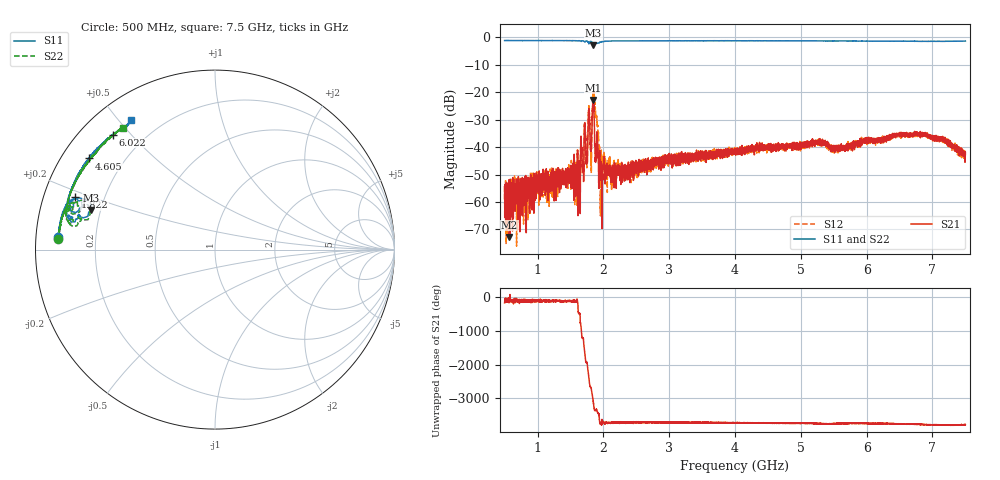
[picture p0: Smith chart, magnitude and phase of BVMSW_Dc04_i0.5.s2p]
!Keysight Technologies,M9374A,MY55442783,A.12.55.05
!Date: Thursday, May 20, 2021 17:51:31
!Correction: S11(Full 2 Port(1,2))
!S21(Full 2 Port(1,2))
!S12(Full 2 Port(1,2))
!S22(Full 2 Port(1,2))
!S2P File: Measurements: S11, S21, S12, S22:
# Hz S  RI  R 50
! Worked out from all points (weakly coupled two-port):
!   7001 points, 500 MHz to 7.5 GHz, reference 50 ohm
!   highest |S21| = -22.77 dB at 1.845 GHz (marker M1); lowest = -72.7 dB at 573 MHz (marker M2)
!   lowest |S11| = -2.8 dB at 1.846 GHz (marker M3), VSWR 6.23, Z = 8.22 + j7.59 ohm
!   |S11| at or under -10 dB: nowhere
!   |S22| runs from -2.9 to -1.1 dB; largest |S21 - S12| = 0.063
!   S11 on the Smith chart (normalised r, x): 500 MHz: 0.07, +0.04; 1.822 GHz: 0.10, +0.18; 4.605 GHz: 0.08, +0.32; 6.022 GHz: 0.09, +0.45; 7.5 GHz: 0.10, +0.54
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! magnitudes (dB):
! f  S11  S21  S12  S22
! 500 MHz  -1.1  -58.7  -54.3  -1.2
! 573 MHz  -1.1  -72.7  -53.8  -1.1
! 1.565 GHz  -1.2  -52.0  -55.9  -1.3
! 1.667 GHz  -1.4  -41.6  -40.3  -1.5
! 1.689 GHz  -1.3  -45.8  -46.6  -1.3
! 1.723 GHz  -1.6  -35.3  -34.2  -1.6
! 1.822 GHz  -1.6  -37.6  -40.8  -1.7
! 1.845 GHz  -2.8  -22.8  -20.3  -2.8
! 1.846 GHz  -2.8  -23.2  -20.7  -2.8
! 1.876 GHz  -2.2  -42.2  -25.0  -2.2
! 1.953 GHz  -1.7  -50.1  -49.2  -1.7
! 1.982 GHz  -1.5  -52.8  -49.2  -1.6
! 2.371 GHz  -1.3  -52.0  -50.5  -1.3
! 2.834 GHz  -1.3  -45.8  -45.0  -1.3
! 4 GHz  -1.2  -41.1  -41.6  -1.3
! 4.605 GHz  -1.2  -40.6  -40.5  -1.3
! 5.167 GHz  -1.3  -38.3  -38.5  -1.3
! 5.517 GHz  -1.3  -39.9  -41.0  -1.4
! 6.022 GHz  -1.3  -37.2  -38.1  -1.3
! 6.334 GHz  -1.4  -36.7  -36.0  -1.3
! 6.894 GHz  -1.4  -35.6  -35.8  -1.3
! 7.5 GHz  -1.3  -41.9  -42.4  -1.4
